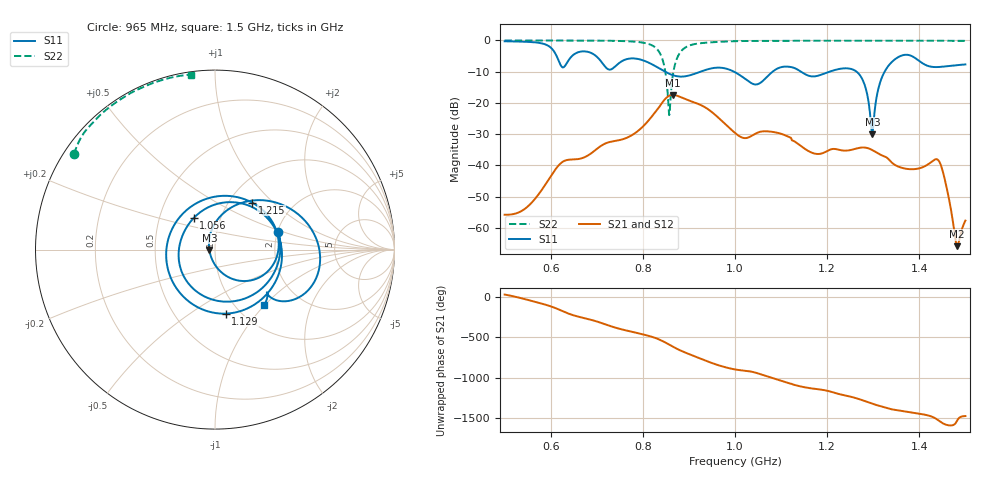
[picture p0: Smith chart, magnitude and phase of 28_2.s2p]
! TOUCHSTONE file generated by CST MICROWAVE STUDIO
! Date and time: Thu Feb 11 19:34:46 2021
! Project name: Scenario_1_Planar_Body_Tissue_Out_of_Line.cst
! Parameters = {L_HA=400; Ltissue=1000; MT=2.54; Rad_Dielectric=30; Rad_Lower=7.3; Rad_Upper=30; Wtissue=1000; a_HA=580; a_WG=246; b_HA=500; b_WG=121; c_HA=0; c_WG=187; d_feed=85; dx1=346; dy1=121.1; h_feed=15; h_lower=18; h_upper=40; hfat=3; hgap=25; hmuscle=50; hskin=1.5}
! Header version: 2018
! Port assignment regex: !\s*Touchstone port\s*([0-9]+)\s*=\s*(CST MWS port|CST DS port)\s*([0-9]+|Zmin|Zmax)\s*\(\"(.*)\"\)(\s*mode\s*([0-9]+))?.*
! Touchstone port assignment:
! Touchstone port 1 = CST MWS port 1 ("")
! Touchstone port 2 = CST MWS port 2 ("")
# GHz S DB R 50
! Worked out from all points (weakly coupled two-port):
!   1003 points, 500 MHz to 1.5 GHz, reference 50 ohm
!   highest |S21| = -17.42 dB at 865 MHz (marker M1); lowest = -65.9 dB at 1.482 GHz (marker M2)
!   lowest |S11| = -30.0 dB at 1.298 GHz (marker M3), VSWR 1.07, Z = 46.9 - j0.184 ohm
!   |S11| at or under -10 dB: 848.3 MHz to 925.3 MHz (76.98 MHz wide, 8.68 % of centre); 997.7 MHz to 1.082 GHz (83.95 MHz wide, 8.07 % of centre); 1.143 GHz to 1.205 GHz (62.04 MHz wide, 5.28 % of centre)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
!   |S22| runs from -23.9 to 0.0 dB; largest |S21 - S12| = 1e-05
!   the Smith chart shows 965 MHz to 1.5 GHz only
!   S11 on the Smith chart (normalised r, x): 965 MHz: 2.02, +0.47; 1.056 GHz: 0.74, +0.27; 1.129 GHz: 0.86, -0.70; 1.215 GHz: 1.27, +0.75; 1.5 GHz: 1.33, -0.99
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0.5  -0.27 -121.5  -55.80 31.4  -55.80 31.4  -0.01 151.1
0.667  -3.54 155.3  -37.74 107.0  -37.74 107.0  -0.04 138.3
0.716  -7.99 25.1  -33.17 27.0  -33.17 27.0  -0.09 132.8
0.74  -8.32 -97.0  -32.17 -18.3  -32.17 -18.3  -0.14 129.2
0.768  -5.88 176.6  -30.97 -59.3  -30.97 -59.3  -0.27 123.5
0.834  -8.80 25.6  -21.65 -162.2  -21.65 -162.2  -3.37 83.2
0.856  -10.57 -35.5  -17.80 134.7  -17.80 134.7  -21.91 -4.9
0.865  -11.12 -63.0  -17.42 105.7  -17.42 105.7  -11.19 -140.5
0.907  -10.95 166.4  -19.61 -1.9  -19.61 -1.9  -1.35 163.2
0.965  -8.71 15.8  -24.87 -126.6  -24.87 -126.6  -0.45 145.8
1  -10.18 -66.9  -29.61 -176.9  -29.61 -176.9  -0.24 140.3
1.056  -13.48 124.4  -29.19 123.3  -29.19 123.3  -0.16 133.7
1.098  -8.65 3.0  -29.79 46.2  -29.79 46.2  -0.12 129.8
1.129  -8.84 -80.6  -32.31 -8.6  -32.32 -8.6  -0.11 127.2
1.167  -11.51 160.6  -35.95 -52.7  -35.95 -52.7  -0.10 124.1
1.215  -9.54 51.7  -34.73 -104.9  -34.73 -104.9  -0.09 120.5
1.271  -11.12 -36.4  -34.36 172.2  -34.36 172.2  -0.08 116.2
1.298  -30.03 -176.4  -35.10 118.0  -35.10 118.0  -0.09 114.2
1.334  -7.94 42.7  -38.13 56.5  -38.13 56.4  -0.08 111.5
1.441  -8.51 -39.5  -38.31 -86.4  -38.31 -86.4  -0.10 103.0
1.482  -7.90 -44.6  -65.86 -92.5  -65.86 -92.5  -0.12 99.5
1.5  -7.68 -48.4  -57.66 -34.6  -57.66 -34.6  -0.14 97.9
